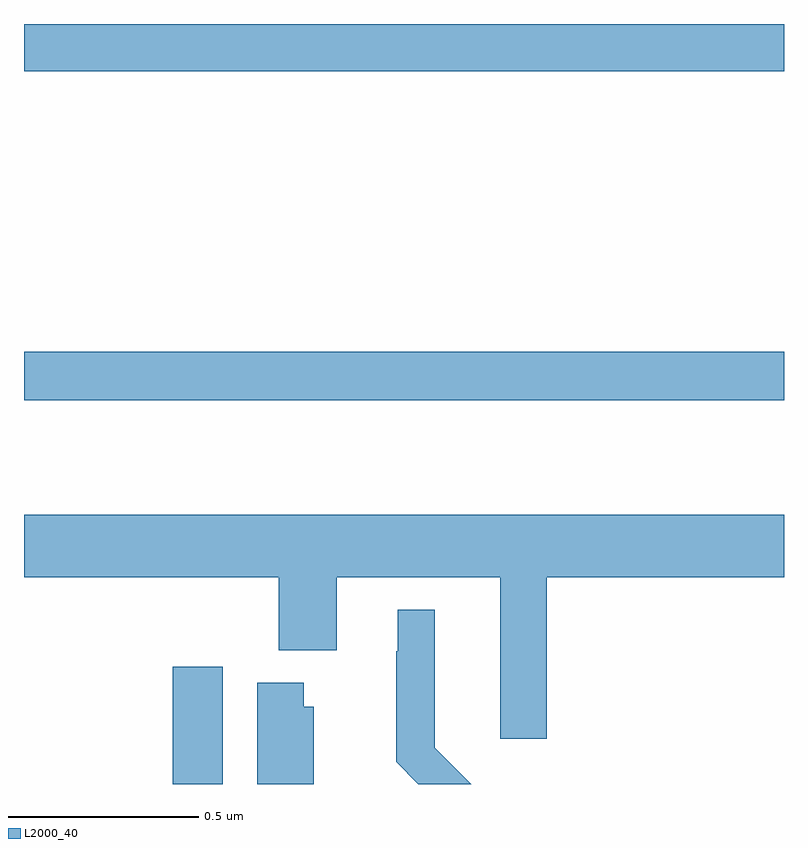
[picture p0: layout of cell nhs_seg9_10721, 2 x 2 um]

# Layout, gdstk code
import gdstk
lib = gdstk.Library(unit=1e-6, precision=1e-09)
def R(c, l, rs):  # rectangles x0, y0, x1, y1
    for r in rs: c.add(gdstk.rectangle(r[:2], r[2:], *l))
def P(c, l, *ps):  # polygons
    for p in ps: c.add(gdstk.Polygon(p, *l))
L2000_40 = (2000, 40)

nhs_seg9_10721 = lib.new_cell('nhs_seg9_10721')
R(nhs_seg9_10721, L2000_40, [(246.392,1238.5,246.523,1238.809), (246,1239.51,248,1239.638), (246,1240.376,248,1240.5)])
P(nhs_seg9_10721, L2000_40, [(246,1239.044),(246.671,1239.044),(246.671,1238.852),(246.823,1238.852),(246.823,1239.044),(247.253,1239.044),(247.253,1238.619),(247.376,1238.619),(247.376,1239.044),(248,1239.044),(248,1239.208),(246,1239.208)],
  [(247.081,1238.596),(247.081,1238.959),(246.983,1238.959),(246.983,1238.849),(246.979,1238.849),(246.979,1238.558),(247.037,1238.5),(247.177,1238.5)],
  [(246.763,1238.703),(246.736,1238.703),(246.736,1238.767),(246.614,1238.767),(246.614,1238.5),(246.763,1238.5)])

lib.write_gds('nhs_seg9_10721.gds')
